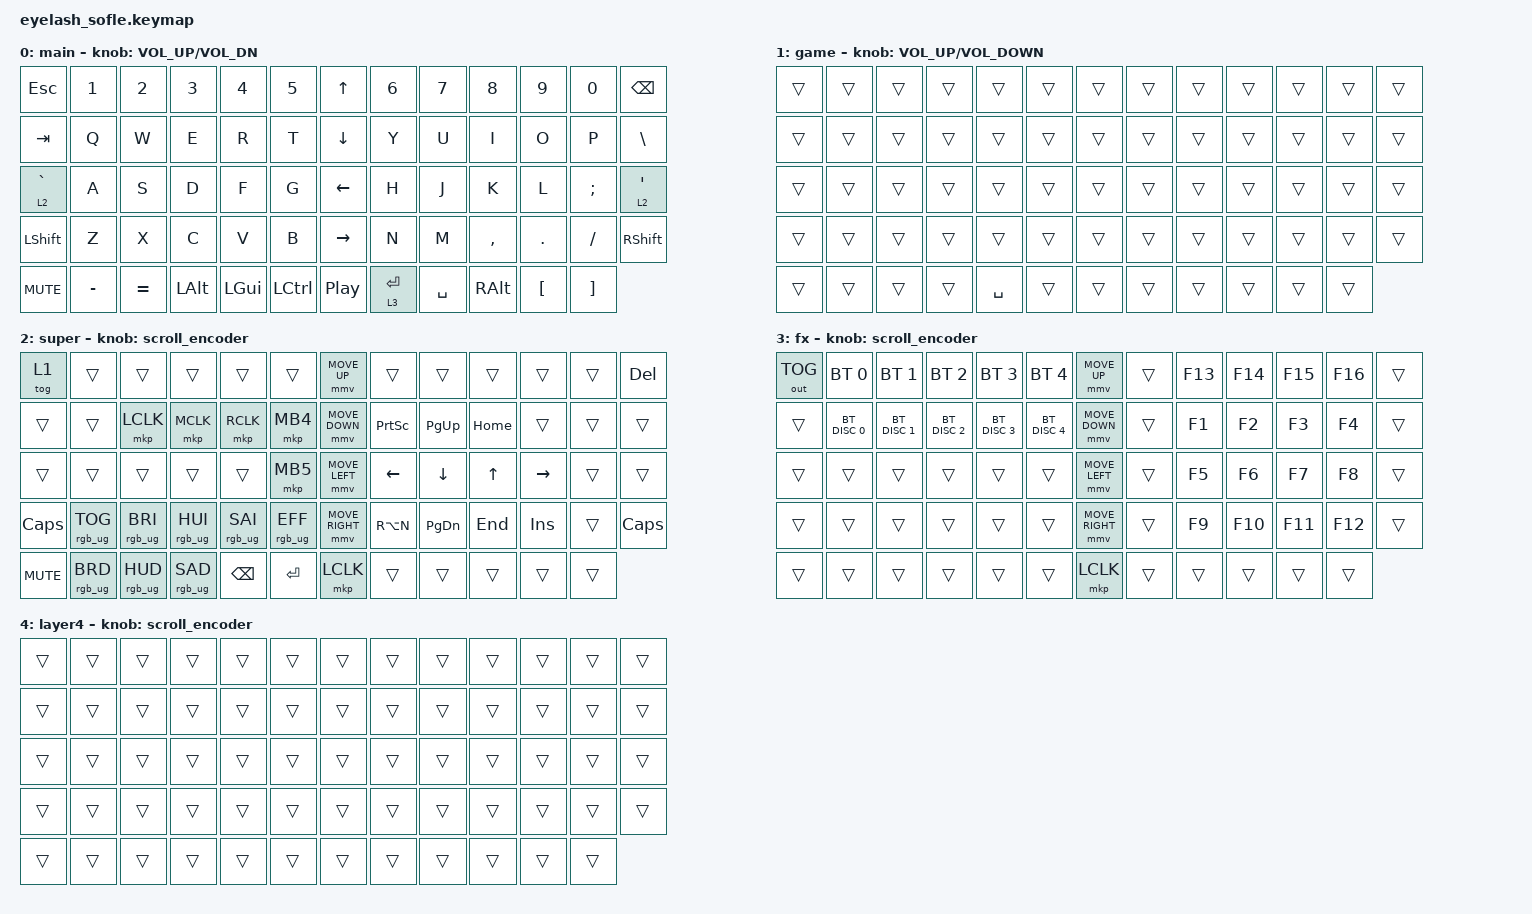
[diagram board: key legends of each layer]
#define ZMK_POINTING_DEFAULT_MOVE_VAL 1200  // 600
#define ZMK_POINTING_DEFAULT_SCRL_VAL 25   // 10

#include <input/processors.dtsi>
#include <zephyr/dt-bindings/input/input-event-codes.h>
#include <behaviors.dtsi>
#include <dt-bindings/zmk/bt.h>
#include <dt-bindings/zmk/keys.h>
#include <dt-bindings/zmk/outputs.h>
#include <dt-bindings/zmk/pointing.h>
#include <dt-bindings/zmk/rgb.h>

&mmv_input_listener { input-processors = <&zip_xy_scaler 2 1>; };

&msc_input_listener { input-processors = <&zip_scroll_scaler 2 1>; };

&msc {
    acceleration-exponent = <1>;      // 0
    time-to-max-speed-ms = <100>;       // 300
    delay-ms = <0>;                   // 0
};

&mmv {
    time-to-max-speed-ms = <500>;
    acceleration-exponent = <1>;
    trigger-period-ms = <16>;
};

&soft_off { hold-time-ms = <2000>; };

/ {
    scroll_encoder: scroll_encoder {
        compatible = "zmk,behavior-sensor-rotate";
        #sensor-binding-cells = <0>;
        bindings = <&msc SCRL_DOWN>, <&msc SCRL_UP>;

        tap-ms = <100>;
    };

    behaviors {
    };

    combos {
        compatible = "zmk,combos";

        softoff {
            bindings = <&soft_off>;
            key-positions = <14 28 40>;
        };
    };

    keymap {
        compatible = "zmk,keymap";

        main {
            bindings = <
&kp ESC      &kp N1     &kp N2     &kp N3        &kp N4        &kp N5       &kp UP_ARROW      &kp N6        &kp N7     &kp N8     &kp N9            &kp N0             &kp BACKSPACE
&kp TAB      &kp Q      &kp W      &kp E         &kp R         &kp T        &kp DOWN_ARROW    &kp Y         &kp U      &kp I      &kp O             &kp P              &kp BSLH
&lt 2 GRAVE  &kp A      &kp S      &kp D         &kp F         &kp G        &kp LEFT_ARROW    &kp H         &kp J      &kp K      &kp L             &kp SEMI           &lt 2 APOS
&kp LSHFT    &kp Z      &kp X      &kp C         &kp V         &kp B        &kp RIGHT_ARROW   &kp N         &kp M      &kp COMMA  &kp DOT           &kp FSLH           &kp RIGHT_SHIFT
&kp C_MUTE   &kp MINUS  &kp EQUAL  &kp LEFT_ALT  &kp LEFT_GUI  &kp LCTRL    &kp C_PLAY_PAUSE  &lt 3 RETURN  &kp SPACE  &kp RALT   &kp LEFT_BRACKET  &kp RIGHT_BRACKET
            >;

            sensor-bindings = <&inc_dec_kp C_VOLUME_UP C_VOL_DN>;
            display-name = "main";
        };

        game {
            bindings = <
&trans  &trans  &trans  &trans  &trans     &trans    &trans  &trans  &trans  &trans  &trans  &trans  &trans
&trans  &trans  &trans  &trans  &trans     &trans    &trans  &trans  &trans  &trans  &trans  &trans  &trans
&trans  &trans  &trans  &trans  &trans     &trans    &trans  &trans  &trans  &trans  &trans  &trans  &trans
&trans  &trans  &trans  &trans  &trans     &trans    &trans  &trans  &trans  &trans  &trans  &trans  &trans
&trans  &trans  &trans  &trans  &kp SPACE  &trans    &trans  &trans  &trans  &trans  &trans  &trans
            >;

            display-name = "game";
            sensor-bindings = <&inc_dec_kp C_VOL_UP C_VOLUME_DOWN>;
        };

        hyper {
            bindings = <
&tog 1        &trans           &trans           &trans           &trans           &trans             &mmv MOVE_UP     &trans           &trans         &trans    &trans      &trans  &kp DELETE
&trans        &trans           &mkp LCLK        &mkp MCLK        &mkp RCLK        &mkp MB4           &mmv MOVE_DOWN   &kp PRINTSCREEN  &kp PAGE_UP    &kp HOME  &trans      &trans  &trans
&trans        &trans           &trans           &trans           &trans           &mkp MB5           &mmv MOVE_LEFT   &kp LEFT         &kp DOWN       &kp UP    &kp RIGHT   &trans  &trans
&kp CAPSLOCK  &rgb_ug RGB_TOG  &rgb_ug RGB_BRI  &rgb_ug RGB_HUI  &rgb_ug RGB_SAI  &rgb_ug RGB_EFF    &mmv MOVE_RIGHT  &kp RA(N)        &kp PAGE_DOWN  &kp END   &kp INSERT  &trans  &kp CAPSLOCK
&kp C_MUTE    &rgb_ug RGB_BRD  &rgb_ug RGB_HUD  &rgb_ug RGB_SAD  &kp BACKSPACE    &kp RETURN         &mkp LCLK        &trans           &trans         &trans    &trans      &trans
            >;

            display-name = "super";
            sensor-bindings = <&scroll_encoder>;
        };

        fx {
            bindings = <
&out OUT_TOG  &bt BT_SEL 0   &bt BT_SEL 1   &bt BT_SEL 2   &bt BT_SEL 3   &bt BT_SEL 4     &mmv MOVE_UP     &trans  &kp F13  &kp F14  &kp F15  &kp F16  &trans
&trans        &bt BT_DISC 0  &bt BT_DISC 1  &bt BT_DISC 2  &bt BT_DISC 3  &bt BT_DISC 4    &mmv MOVE_DOWN   &trans  &kp F1   &kp F2   &kp F3   &kp F4   &trans
&trans        &trans         &trans         &trans         &trans         &trans           &mmv MOVE_LEFT   &trans  &kp F5   &kp F6   &kp F7   &kp F8   &trans
&trans        &trans         &trans         &trans         &trans         &trans           &mmv MOVE_RIGHT  &trans  &kp F9   &kp F10  &kp F11  &kp F12  &trans
&trans        &trans         &trans         &trans         &trans         &trans           &mkp LCLK        &trans  &trans   &trans   &trans   &trans
            >;

            display-name = "fx";
            sensor-bindings = <&scroll_encoder>;
        };

        layer_4 {
            bindings = <
&trans  &trans  &trans  &trans  &trans  &trans    &trans  &trans  &trans  &trans  &trans  &trans  &trans
&trans  &trans  &trans  &trans  &trans  &trans    &trans  &trans  &trans  &trans  &trans  &trans  &trans
&trans  &trans  &trans  &trans  &trans  &trans    &trans  &trans  &trans  &trans  &trans  &trans  &trans
&trans  &trans  &trans  &trans  &trans  &trans    &trans  &trans  &trans  &trans  &trans  &trans  &trans
&trans  &trans  &trans  &trans  &trans  &trans    &trans  &trans  &trans  &trans  &trans  &trans
            >;

            display-name = "layer4";
            sensor-bindings = <&scroll_encoder>;
        };
    };
};
